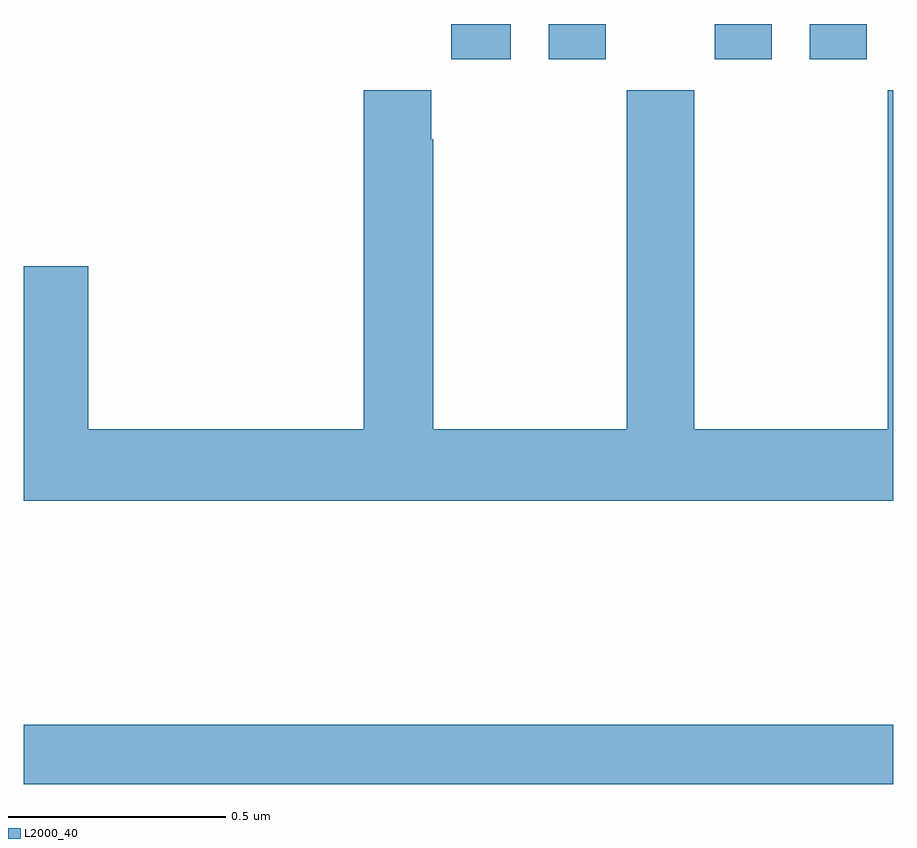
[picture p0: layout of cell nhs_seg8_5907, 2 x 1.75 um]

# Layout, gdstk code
import gdstk
lib = gdstk.Library(unit=1e-6, precision=1e-09)
def R(c, l, rs):  # rectangles x0, y0, x1, y1
    for r in rs: c.add(gdstk.rectangle(r[:2], r[2:], *l))
def P(c, l, *ps):  # polygons
    for p in ps: c.add(gdstk.Polygon(p, *l))
L2000_40 = (2000, 40)

nhs_seg8_5907 = lib.new_cell('nhs_seg8_5907')
R(nhs_seg8_5907, L2000_40, [(189,1145.152,191,1145.288), (189.983,1146.819,190.12,1146.9), (190.208,1146.819,190.339,1146.9), (190.589,1146.819,190.72,1146.9), (190.808,1146.819,190.939,1146.9)])
P(nhs_seg8_5907, L2000_40, [(191,1146.748),(190.987,1146.748),(190.987,1145.968),(190.542,1145.968),(190.542,1146.748),(190.387,1146.748),(190.387,1145.968),(189.942,1145.968),(189.942,1146.635),(189.937,1146.635),(189.937,1146.748),(189.782,1146.748),(189.782,1145.968),(189.148,1145.968),(189.148,1146.343),(189,1146.343),(189,1145.804),(191,1145.804)])

lib.write_gds('nhs_seg8_5907.gds')
